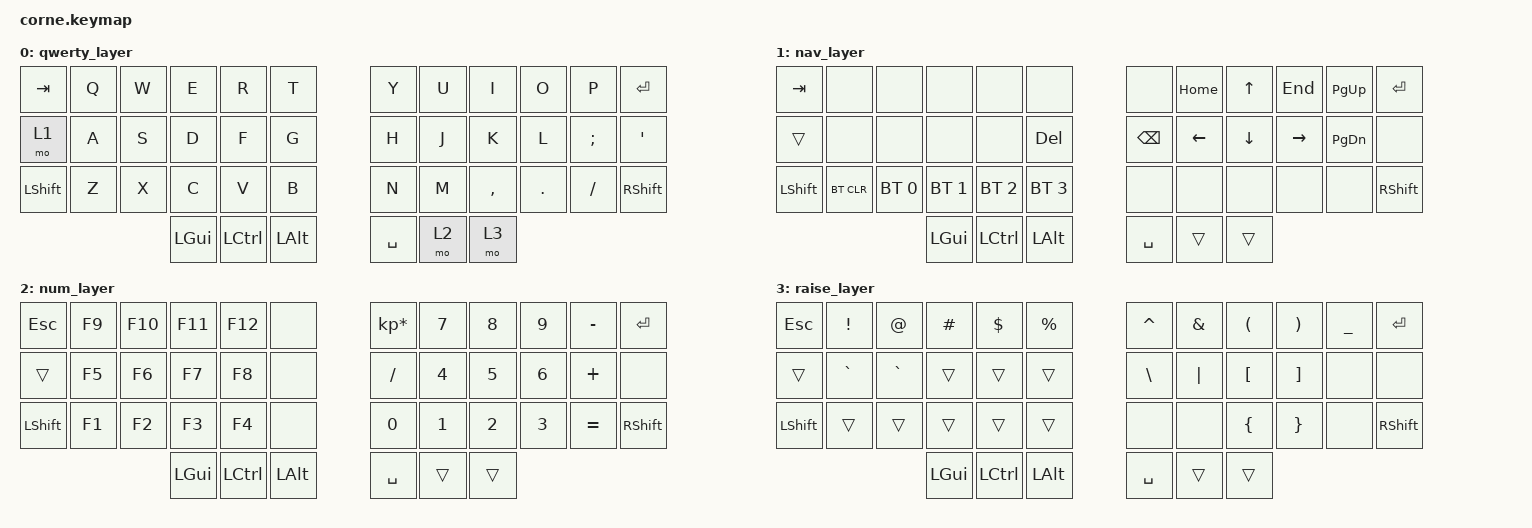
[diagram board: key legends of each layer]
/*
 * Copyright (c) 2020 The ZMK Contributors
 *
 * SPDX-License-Identifier: MIT
 */

#include <behaviors.dtsi>
#include <dt-bindings/zmk/keys.h>
#include <dt-bindings/zmk/bt.h>

#define nav 1

/ {
        keymap {
                compatible = "zmk,keymap";

                qwerty_layer {
// -----------------------------------------------------------------------------------------
// |  TAB |  Q  |  W  |  E  |  R  |  T  |   |  Y  |  U  |  I  |  O  |  P  | ENT  |
// |NAVLR |  A  |  S  |  D  |  F  |  G  |   |  H  |  J  |  K  |  L  |  ;  |  '   |
// | SHFT |  Z  |  X  |  C  |  V  |  B  |   |  N  |  M  |  ,  |  .  |  /  | SHFT |
//                    | GUI | CTRL| ALT |   | SPC |NUMLR|CHRLR|
                        bindings = <
   &kp TAB      &kp Q &kp W &kp E &kp R &kp T   &kp Y &kp U  &kp I     &kp O   &kp P    &kp RET
   &mo 1        &kp A &kp S &kp D &kp F &kp G   &kp H &kp J  &kp K     &kp L   &kp SEMI &kp SQT
   &kp LSHFT    &kp Z &kp X &kp C &kp V &kp B   &kp N &kp M  &kp COMMA &kp DOT &kp FSLH &kp RSHIFT
                  &kp LGUI &kp LCTRL &kp LALT   &kp SPACE &mo 2 &mo 3
                        >;
                };
                nav_layer {
// -----------------------------------------------------------------------------------------
// |  TAB |     |     |     |     |BTCLR|   |     | HME |  UP | END |PGUP | ENT  |
// |NAVLR |     |     |     |     | DEL |   |BKSP | LFT | DWN | RGT |PGDN |      |
// | SHFT |BTCLR| BT1 | BT2 | BT3 | BT4 |   |     |     |     |     |     | SHFT |
//                    | GUI | CTRL| ALT |   | SPC |NUMLR|CHRLR|
                        bindings = <
   &kp TAB    &none        &none        &none        &none        &none          &none      &kp HOME  &kp UP   &kp END   &kp PG_UP  &kp RET
   &trans     &none        &none        &none        &none        &kp DEL        &kp BSPC   &kp LEFT  &kp DOWN &kp RIGHT &kp PG_DN  &none
   &kp LSHFT  &bt BT_CLR   &bt BT_SEL 0 &bt BT_SEL 1 &bt BT_SEL 2 &bt BT_SEL 3   &none      &none     &none    &none     &none      &kp RSHIFT
                          	        &kp LGUI     &kp LCTRL    &kp LALT       &kp SPACE  &trans    &trans
                        >;
                };

                num_layer {
// -----------------------------------------------------------------------------------------
// |  ESC |  F9 | F10 | F11 | F12 |     |   |  *  |  7  |  8  |  9  |  -  | ENT  |
// |NAVLR |  F5 |  F6 |  F7 |  F9 |     |   |  /  |  4  |  5  |  6  |  +  |      |
// | SHFT |  F1 |  F2 |  F3 |  F4 |     |   |  0  |  1  |  2  |  3  |  =  | SHFT |
//                    | GUI | CTRL| ALT |   | SPC |NUMLR|CHRLR|
                        bindings = <
   &kp ESC   &kp F9  &kp F10  &kp F11   &kp F12    &none       &kp KP_MULTIPLY  &kp N7  &kp N8  &kp N9  &kp MINUS &kp RET
   &trans    &kp F5  &kp F6   &kp F7    &kp F8     &none       &kp FSLH         &kp N4  &kp N5  &kp N6  &kp PLUS  &none
   &kp LSHFT &kp F1  &kp F2   &kp F3    &kp F4     &none       &kp N0           &kp N1  &kp N2  &kp N3  &kp EQUAL &kp RSHIFT
                    	      &kp LGUI  &kp LCTRL  &kp LALT    &kp SPACE        &trans   &trans
                        >;
                };

                raise_layer {
// -----------------------------------------------------------------------------------------
// |  ESC |  !  |  @  |  #  |  $  |  %  |   |  ^  |  &  |  (  |  )  |  _  | ENT  |
// |NAVLR |  `  |  ~  |     |     |     |   |  \  |  |  |  [  |  ]  |     |      |
// | SHFT |     |     |     |     |     |   |     |     |  {  |  }  |     | SHFT |
//                    | GUI | CTRL| ALT |   | SPC |NUMLR|CHRLR|
                        bindings = <
   &kp ESC   &kp EXCL   &kp AT    &kp HASH   &kp DLLR   &kp PRCNT   &kp CARET  &kp AMPS  &kp LPAR  &kp RPAR &kp UNDER  &kp RET
   &trans    &kp GRAVE  &kp GRAVE &trans     &trans     &trans      &kp BSLH   &kp PIPE  &kp LBKT  &kp RBKT &none      &none
   &kp LSHFT &trans     &trans    &trans     &trans     &trans      &none      &none     &kp LBRC  &kp RBRC &none      &kp RSHIFT
                        &kp LGUI  &kp LCTRL  &kp LALT   &kp SPACE   &trans     &trans
                        >;
                };
        };
};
